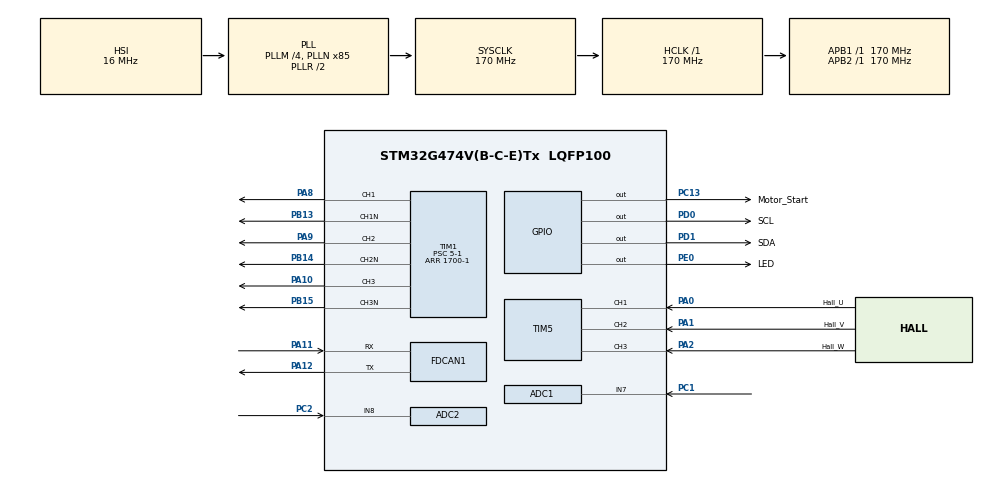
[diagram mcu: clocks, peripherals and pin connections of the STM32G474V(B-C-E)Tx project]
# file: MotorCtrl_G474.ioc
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ADC1.Channel-0\#ChannelRegularConversion=ADC_CHANNEL_7
ADC1.ClockPrescaler=ADC_CLOCK_ASYNC_DIV2
ADC1.ExternalTrigConv=ADC_EXTERNALTRIG_T1_TRGO
ADC1.NbrOfConversionFlag=1
ADC1.OffsetNumber-0\#ChannelRegularConversion=ADC_OFFSET_NONE
ADC1.Rank-0\#ChannelRegularConversion=1
ADC1.SamplingTime-0\#ChannelRegularConversion=ADC_SAMPLETIME_12CYCLES_5
ADC1.master=1
ADC2.Channel-0\#ChannelRegularConversion=ADC_CHANNEL_8
ADC2.ClockPrescaler=ADC_CLOCK_ASYNC_DIV2
ADC2.ExternalTrigConv=ADC_EXTERNALTRIG_T1_TRGO
ADC2.NbrOfConversionFlag=1
ADC2.OffsetNumber-0\#ChannelRegularConversion=ADC_OFFSET_NONE
ADC2.Rank-0\#ChannelRegularConversion=1
ADC2.SamplingTime-0\#ChannelRegularConversion=ADC_SAMPLETIME_12CYCLES_5
FDCAN1.AutoRetransmission=DISABLE
FDCAN1.CalculateBaudRateNominal=500000
FDCAN1.CalculateTimeBitNominal=2000
FDCAN1.CalculateTimeQuantumNominal=117.6470588235294
FDCAN1.ClockDivider=FDCAN_CLOCK_DIV10
FDCAN1.DataPrescaler=4
FDCAN1.DataSyncJumpWidth=16
FDCAN1.DataTimeSeg1=3
FDCAN1.ExtFiltersNbr=1
FDCAN1.FrameFormat=FDCAN_FRAME_CLASSIC
FDCAN1.NominalPrescaler=1
FDCAN1.NominalTimeSeg1=10
FDCAN1.NominalTimeSeg2=6
FDCAN1.ProtocolException=DISABLE
Mcu.Family=STM32G4
Mcu.Name=STM32G474V(B-C-E)Tx
Mcu.Package=LQFP100
NVIC.ADC1_2_IRQn=true\:1\:0\:true\:false\:true\:true\:true\:true
NVIC.FDCAN1_IT0_IRQn=true\:3\:0\:true\:false\:true\:true\:true\:true
NVIC.FDCAN1_IT1_IRQn=true\:3\:0\:true\:false\:true\:true\:true\:true
NVIC.PriorityGroup=NVIC_PRIORITYGROUP_4
NVIC.TIM5_IRQn=true\:2\:0\:true\:false\:true\:true\:true\:true
NVIC.TIM6_DAC_IRQn=true\:2\:0\:true\:false\:true\:true\:true\:true
PA0.GPIO_Label=Hall_U
PA0.Signal=S_TIM5_CH1
PA1.GPIO_Label=Hall_V
PA1.Signal=S_TIM5_CH2
PA10.Signal=S_TIM1_CH3
PA11.Mode=FDCAN_Activate
PA11.Signal=FDCAN1_RX
PA12.Mode=FDCAN_Activate
PA12.Signal=FDCAN1_TX
PA13.Mode=Serial_Wire
PA13.Signal=SYS_JTMS-SWDIO
PA14.Mode=Serial_Wire
PA14.Signal=SYS_JTCK-SWCLK
PA2.GPIO_Label=Hall_W
PA2.Signal=S_TIM5_CH3
PA8.Signal=S_TIM1_CH1
PA9.Signal=S_TIM1_CH2
PB13.Mode=PWM Generation1 CH1 CH1N
PB13.Signal=TIM1_CH1N
PB14.Mode=PWM Generation2 CH2 CH2N
PB14.Signal=TIM1_CH2N
PB15.Mode=PWM Generation3 CH3 CH3N
PB15.Signal=TIM1_CH3N
PC1.Mode=IN7-Single-Ended
PC1.Signal=ADC1_IN7
PC13.GPIO_Label=Motor_Start
PC13.Signal=GPIO_Output
PC2.Mode=IN8-Single-Ended
PC2.Signal=ADC2_IN8
PD0.GPIO_Label=SCL
PD0.Signal=GPIO_Output
PD1.GPIO_Label=SDA
PD1.GPIO_Speed=GPIO_SPEED_FREQ_VERY_HIGH
PD1.Signal=GPIO_Output
PE0.GPIO_Label=LED
PE0.GPIO_Speed=GPIO_SPEED_FREQ_VERY_HIGH
PE0.Signal=GPIO_Output
PF0-OSC_IN.Mode=HSE-External-Oscillator
PF0-OSC_IN.Signal=RCC_OSC_IN
PF1-OSC_OUT.Mode=HSE-External-Oscillator
PF1-OSC_OUT.Signal=RCC_OSC_OUT
ProjectManager.HeapSize=0x200
ProjectManager.StackSize=0x400
ProjectManager.TargetToolchain=EWARM V8.50
RCC.ADC12CLockSelection=RCC_ADC12CLKSOURCE_PLL
RCC.ADC12Freq_Value=34000000
RCC.ADC345Freq_Value=170000000
RCC.AHBFreq_Value=170000000
RCC.APB1Freq_Value=170000000
RCC.APB1TimFreq_Value=170000000
RCC.APB2Freq_Value=170000000
RCC.APB2TimFreq_Value=170000000
RCC.CortexFreq_Value=170000000
RCC.EXTERNAL_CLOCK_VALUE=12288000
RCC.FDCANCLockSelection=RCC_FDCANCLKSOURCE_PLL
RCC.HCLKFreq_Value=170000000
RCC.HSE_VALUE=8000000
RCC.HSI48_VALUE=48000000
RCC.HSI_VALUE=16000000
RCC.LSE_VALUE=32768
RCC.PLLM=RCC_PLLM_DIV4
RCC.PLLN=85
RCC.PLLP=RCC_PLLP_DIV10
RCC.PLLQ=RCC_PLLQ_DIV4
RCC.SYSCLKFreq_VALUE=170000000
RCC.SYSCLKSource=RCC_SYSCLKSOURCE_PLLCLK
RCC.USBFreq_Value=85000000
RCC.VCOOutputFreq_Value=340000000
SH.S_TIM1_CH1.0=TIM1_CH1,PWM Generation1 CH1 CH1N
SH.S_TIM1_CH2.0=TIM1_CH2,PWM Generation2 CH2 CH2N
SH.S_TIM1_CH3.0=TIM1_CH3,PWM Generation3 CH3 CH3N
SH.S_TIM5_CH1.0=TIM5_CH1,Xored_Inputs_Hall_Sensor_Interface
SH.S_TIM5_CH2.0=TIM5_CH2,Xored_Inputs_Hall_Sensor_Interface
SH.S_TIM5_CH3.0=TIM5_CH3,Xored_Inputs_Hall_Sensor_Interface
TIM1.AutoReloadPreload=TIM_AUTORELOAD_PRELOAD_ENABLE
TIM1.Channel-PWM\ Generation1\ CH1\ CH1N=TIM_CHANNEL_1
TIM1.Channel-PWM\ Generation2\ CH2\ CH2N=TIM_CHANNEL_2
TIM1.Channel-PWM\ Generation3\ CH3\ CH3N=TIM_CHANNEL_3
TIM1.Channel-PWM\ Generation4\ No\ Output=TIM_CHANNEL_4
TIM1.CounterMode=TIM_COUNTERMODE_CENTERALIGNED1
TIM1.DeadTime=154
TIM1.DeadTimePreload=DISABLE
TIM1.OCMode_PWM-PWM\ Generation4\ No\ Output=TIM_OCMODE_PWM2
TIM1.OCNPolarity_1=TIM_OCNPOLARITY_HIGH
TIM1.OCNPolarity_2=TIM_OCNPOLARITY_HIGH
TIM1.OCNPolarity_3=TIM_OCNPOLARITY_HIGH
TIM1.OCPolarity_1=TIM_OCPOLARITY_HIGH
TIM1.OCPolarity_2=TIM_OCPOLARITY_HIGH
TIM1.OCPolarity_3=TIM_OCPOLARITY_HIGH
TIM1.PeriodNoDither=1700-1
TIM1.Prescaler=5-1
TIM1.PulseNoDither_4=1700-1
TIM1.TIM_MasterOutputTrigger=TIM_TRGO_OC4REF
TIM5.IC1Filter=5
TIM6.AutoReloadPreload=TIM_AUTORELOAD_PRELOAD_ENABLE
TIM6.PeriodNoDither=1000-1
TIM6.Prescaler=17
VP_SYS_VS_DBSignals.Mode=DisableDeadBatterySignals
VP_TIM1_VS_no_output4.Mode=PWM Generation4 No Output
VP_TIM6_VS_ClockSourceINT.Mode=Enable_Timer
board=custom

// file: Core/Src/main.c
/* USER CODE BEGIN Header */
/**
  ******************************************************************************
  * @file           : main.c
  * @brief          : Main program body
  ******************************************************************************
  * @attention
  *
  * Copyright (c) 2025 STMicroelectronics.
  * All rights reserved.
  *
  * This software is licensed under terms that can be found in the LICENSE file
  * in the root directory of this software component.
  * If no LICENSE file comes with this software, it is provided AS-IS.
  *
  ******************************************************************************
  */
/* USER CODE END Header */
#include "main.h"
#include "adc.h"
#include "fdcan.h"
#include "tim.h"
#include "gpio.h"

void SystemClock_Config(void);

int main(void)
{

  __disable_irq();

  /* MCU Configuration--------------------------------------------------------*/

  /* Reset of all peripherals, Initializes the Flash interface and the Systick. */
  HAL_Init();

  /* Configure the system clock */
  SystemClock_Config();

  /* Initialize all configured peripherals */
  MX_GPIO_Init();
  MX_ADC1_Init();
  MX_ADC2_Init();
  MX_TIM1_Init();
  MX_TIM6_Init();
  MX_FDCAN1_Init();
  MX_TIM5_Init();
  /* USER CODE BEGIN 2 */

  Srv_CanInit();
  App_DBCInit();
  HAL_TIM_Base_Start_IT(&htim6);
  IIC_Init();

  // Motor_HALLInit();
  PI_Pare_init();
  Angle_ParaInit();
  PWM_ParaInit();
  ADC_ParaInit();

  TaskPtr rtb_Task_Callback[TASK_MAX] =
  {
      App_0P5ms_Task,
      App_1ms_Task,
      App_5ms_Task,
      App_10ms_Task,
      App_20ms_Task,
      App_100ms_Task,
      App_1000ms_Task,
  };

  Sys_TaskInit(rtb_Task_Callback);

  __enable_irq();
  /* USER CODE END 2 */

  /* Infinite loop */
  while (1)
  {

    /* USER CODE BEGIN 3 */
    OS_Task();
  }
  /* USER CODE END 3 */
}

void SystemClock_Config(void)
{
  RCC_OscInitTypeDef RCC_OscInitStruct = {0};
  RCC_ClkInitTypeDef RCC_ClkInitStruct = {0};

  /** Configure the main internal regulator output voltage
  */
  HAL_PWREx_ControlVoltageScaling(PWR_REGULATOR_VOLTAGE_SCALE1_BOOST);

  /** Initializes the RCC Oscillators according to the specified parameters
  * in the RCC_OscInitTypeDef structure.
  */
  RCC_OscInitStruct.OscillatorType = RCC_OSCILLATORTYPE_HSI;
  RCC_OscInitStruct.HSIState = RCC_HSI_ON;
  RCC_OscInitStruct.HSICalibrationValue = RCC_HSICALIBRATION_DEFAULT;
  RCC_OscInitStruct.PLL.PLLState = RCC_PLL_ON;
  RCC_OscInitStruct.PLL.PLLSource = RCC_PLLSOURCE_HSI;
  RCC_OscInitStruct.PLL.PLLM = RCC_PLLM_DIV4;
  RCC_OscInitStruct.PLL.PLLN = 85;
  RCC_OscInitStruct.PLL.PLLP = RCC_PLLP_DIV10;
  RCC_OscInitStruct.PLL.PLLQ = RCC_PLLQ_DIV4;
  RCC_OscInitStruct.PLL.PLLR = RCC_PLLR_DIV2;
  if (HAL_RCC_OscConfig(&RCC_OscInitStruct) != HAL_OK)
  {
    Error_Handler();
  }

  /** Initializes the CPU, AHB and APB buses clocks
  */
  RCC_ClkInitStruct.ClockType = RCC_CLOCKTYPE_HCLK|RCC_CLOCKTYPE_SYSCLK
                              |RCC_CLOCKTYPE_PCLK1|RCC_CLOCKTYPE_PCLK2;
  RCC_ClkInitStruct.SYSCLKSource = RCC_SYSCLKSOURCE_PLLCLK;
  RCC_ClkInitStruct.AHBCLKDivider = RCC_SYSCLK_DIV1;
  RCC_ClkInitStruct.APB1CLKDivider = RCC_HCLK_DIV1;
  RCC_ClkInitStruct.APB2CLKDivider = RCC_HCLK_DIV1;

  if (HAL_RCC_ClockConfig(&RCC_ClkInitStruct, FLASH_LATENCY_4) != HAL_OK)
  {
    Error_Handler();
  }
}

void Error_Handler(void)
{
  __disable_irq();
  while (1)
  {
  }
}
